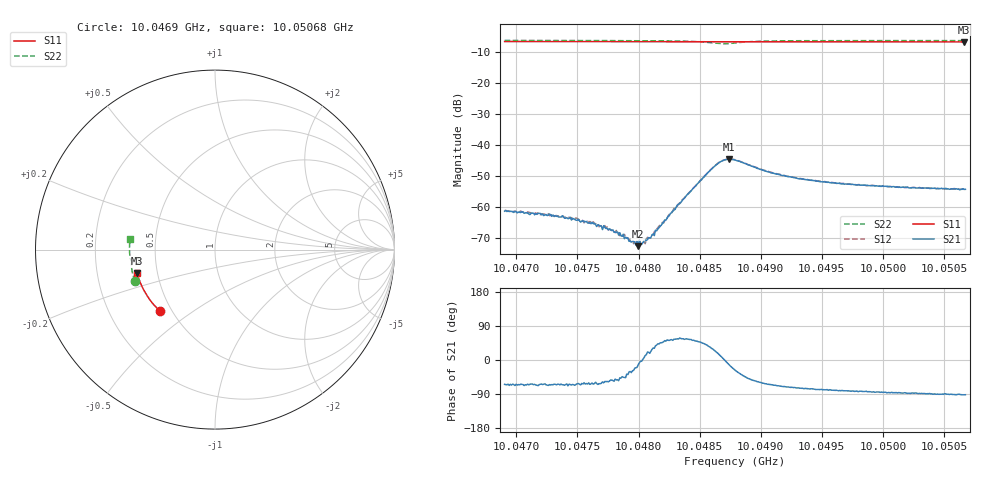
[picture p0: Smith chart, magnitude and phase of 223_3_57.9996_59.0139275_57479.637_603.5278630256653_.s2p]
#  HZ  S  RI  R  50.00
! Rohde & Schwarz Vector Network Analyzer
! Rohde-Schwarz,ZNB20-2Port,1311601062101988,3.16
! Created: UTC 3/21/2024, 1:00:15 AM
! freq[Hz]  re:S11  im:S11  re:S21  im:S21  re:S12  im:S12  re:S22  im:S22
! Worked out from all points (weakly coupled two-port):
!   401 points, 10.0469 GHz to 10.05068 GHz, reference 50 ohm
!   highest |S21| = -44.69 dB at 10.04874 GHz (marker M1); lowest = -72.8 dB at 10.048 GHz (marker M2)
!   lowest |S11| = -6.9 dB at 10.05067 GHz (marker M3), VSWR 2.66, Z = 19.1 - j6.41 ohm
!   |S11| at or under -10 dB: nowhere
!   |S22| runs from -7.5 to -6.4 dB; largest |S21 - S12| = 0.0004
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1.0046903e10  -0.3075 -0.3431  0.000364 -0.000758  0.000423 -0.000751  -0.4461 -0.1759
1.0047281e10  -0.3252 -0.3251  0.000298 -0.00067  0.000359 -0.000621  -0.4541 -0.1512
1.0047535e10  -0.3364 -0.3126  0.000276 -0.000517  0.000316 -0.000532  -0.4588 -0.1339
1.004763e10  -0.3405 -0.3079  0.000234 -0.000473  0.000311 -0.000475  -0.4604 -0.1272
1.0047724e10  -0.3445 -0.3032  0.000253 -0.000385  0.00029 -0.000398  -0.4617 -0.1207
1.0047828e10  -0.3488 -0.2978  0.000236 -0.000307  0.000253 -0.000261  -0.4632 -0.113
1.0047875e10  -0.3508 -0.2954  0.000251 -0.000254  0.000247 -0.000221  -0.4637 -0.1093
1.0047941e10  -0.3536 -0.2919  0.000223 -0.000146  0.000267 -0.000126  -0.4643 -0.1042
1.0047997e10  -0.3559 -0.2888  0.000224 -4.93e-05  0.000235 -5.2e-05  -0.4649 -0.0998
1.0048045e10  -0.3577 -0.2864  0.000279 2.86e-05  0.000265 4.59e-05  -0.4653 -0.0959
1.0048111e10  -0.3604 -0.2831  0.000308 0.000166  0.000296 0.000173  -0.4657 -0.0904
1.0048167e10  -0.3625 -0.28  0.000337 0.000308  0.000337 0.000346  -0.4656 -0.0853
1.0048328e10  -0.3686 -0.2713  0.000612 0.000888  0.000571 0.000951  -0.4638 -0.0698
1.0048592e10  -0.378 -0.2568  0.00333 0.0021  0.00322 0.0023  -0.4379 -0.0449
1.0048676e10  -0.3807 -0.2519  0.00529 0.000852  0.00524 0.00117  -0.4214 -0.0546
1.0048742e10  -0.3829 -0.2485  0.00568 -0.00132  0.00575 -0.000933  -0.4212 -0.0715
1.004879e10  -0.3847 -0.246  0.00505 -0.00255  0.00524 -0.00227  -0.4292 -0.0796
1.0049101e10  -0.3952 -0.2282  0.0014 -0.00316  0.00158 -0.00311  -0.467 -0.0602
1.0049422e10  -0.4049 -0.2095  0.000642 -0.00256  0.000787 -0.00254  -0.4742 -0.0323
1.0050053e10  -0.4214 -0.1713  0.000146 -0.0021  0.00027 -0.00207  -0.4763 0.0145
1.0050666e10  -0.434 -0.133  -5.85e-05 -0.00189  5.62e-05 -0.0019  -0.4729 0.0562
1.0050676e10  -0.4343 -0.1325  -5.42e-05 -0.00189  4.08e-05 -0.0019  -0.4729 0.0568
